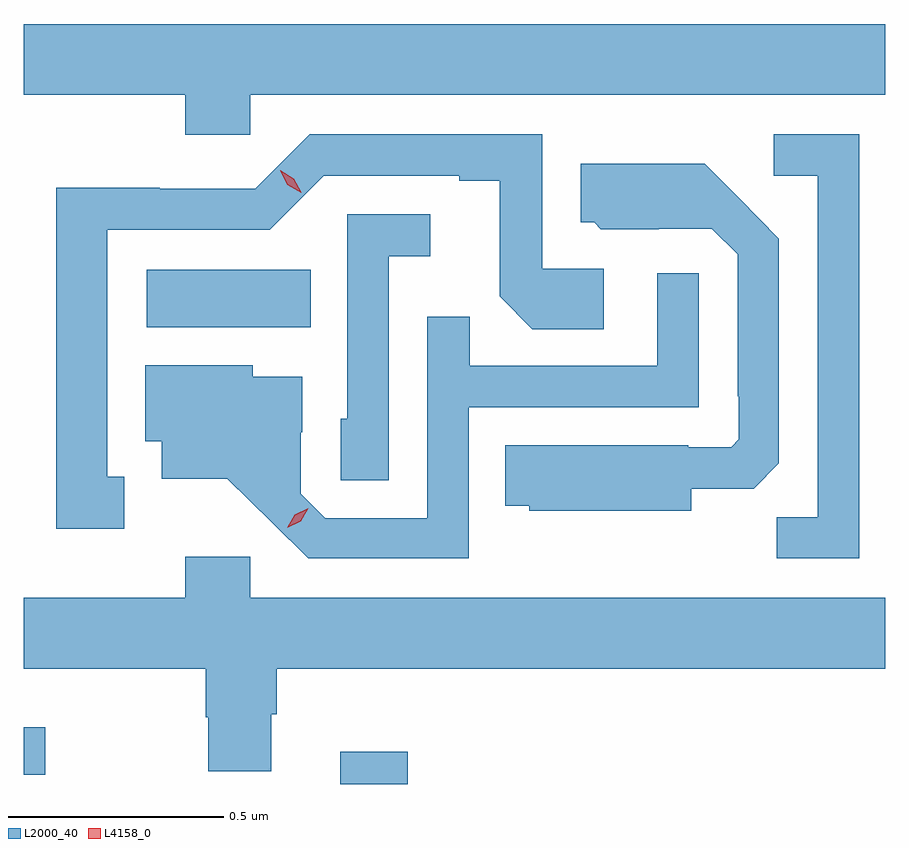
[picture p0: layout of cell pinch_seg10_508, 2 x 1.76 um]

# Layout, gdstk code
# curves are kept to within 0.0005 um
import gdstk
lib = gdstk.Library(unit=1e-6, precision=1e-09)
def R(c, l, rs):  # rectangles x0, y0, x1, y1
    for r in rs: c.add(gdstk.rectangle(r[:2], r[2:], *l))
def P(c, l, *ps):  # polygons
    for p in ps: c.add(gdstk.Polygon(p, *l))
L2000_40 = (2000, 40)
L4158_0 = (4158, 0)

pinch_seg10_508 = lib.new_cell('pinch_seg10_508')
R(pinch_seg10_508, L2000_40, [(294.113,1289.392,294.269,1289.467), (293.378,1289.414,293.428,1289.524), (293.664,1290.452,294.044,1290.586)])
P(pinch_seg10_508, L2000_40, [(293.904,1290.992),(295.378,1290.992),(295.378,1291.156),(293.378,1291.156),(293.378,1290.992),(293.753,1290.992),(293.753,1290.899),(293.904,1290.899)],
  [(293.611,1290.105),(293.572,1290.105),(293.572,1290.678),(293.949,1290.678),(294.075,1290.804),(294.389,1290.804),(294.389,1290.792),(294.483,1290.792),(294.483,1290.524),(294.559,1290.448),(294.724,1290.448),(294.724,1290.588),(294.582,1290.588),(294.582,1290.9),(294.042,1290.9),(293.916,1290.774),(293.694,1290.774),(293.694,1290.776),(293.454,1290.776),(293.454,1289.985),(293.611,1289.985)],
  [(295.317,1290.9),(295.119,1290.9),(295.119,1290.804),(295.221,1290.804),(295.221,1290.011),(295.126,1290.011),(295.126,1289.916),(295.317,1289.916)],
  [(294.928,1290.077),(295.072,1290.077),(295.131,1290.136),(295.131,1290.658),(294.959,1290.832),(294.671,1290.832),(294.671,1290.696),(294.702,1290.696),(294.718,1290.68),(294.852,1290.68),(294.852,1290.681),(294.975,1290.681),(295.035,1290.621),(295.035,1290.292),(295.038,1290.292),(295.038,1290.192),(295.02,1290.174),(294.92,1290.174),(294.92,1290.178),(294.496,1290.178),(294.496,1290.038),(294.552,1290.038),(294.552,1290.026),(294.928,1290.026)],
  [(294.225,1290.617),(294.322,1290.617),(294.322,1290.714),(294.129,1290.714),(294.129,1290.24),(294.114,1290.24),(294.114,1290.097),(294.225,1290.097)],
  [(294.411,1290.267),(294.945,1290.267),(294.945,1290.577),(294.849,1290.577),(294.849,1290.363),(294.413,1290.363),(294.413,1290.476),(294.315,1290.476),(294.315,1290.009),(294.078,1290.009),(294.021,1290.066),(294.021,1290.208),(294.025,1290.208),(294.025,1290.337),(293.91,1290.337),(293.91,1290.364),(293.66,1290.364),(293.66,1290.188),(293.699,1290.188),(293.699,1290.101),(293.851,1290.101),(294.038,1289.916),(294.411,1289.916)],
  [(293.953,1289.554),(293.966,1289.554),(293.966,1289.66),(295.378,1289.66),(295.378,1289.824),(293.904,1289.824),(293.904,1289.92),(293.753,1289.92),(293.753,1289.824),(293.378,1289.824),(293.378,1289.66),(293.801,1289.66),(293.801,1289.547),(293.806,1289.547),(293.806,1289.422),(293.953,1289.422)])
P(pinch_seg10_508, L4158_0, [(293.99,1289.987),(293.99,1289.987),(294.007,1290.017),(294.038,1290.032),(294.038,1290.032),(294.038,1290.032),(294.021,1290.002),(293.99,1289.987)],
  [(294.022,1290.764),(293.99,1290.783),(293.973,1290.816),(293.973,1290.816),(293.973,1290.816),(294.005,1290.797),(294.022,1290.765),(294.022,1290.764)])

lib.write_gds('pinch_seg10_508.gds')
